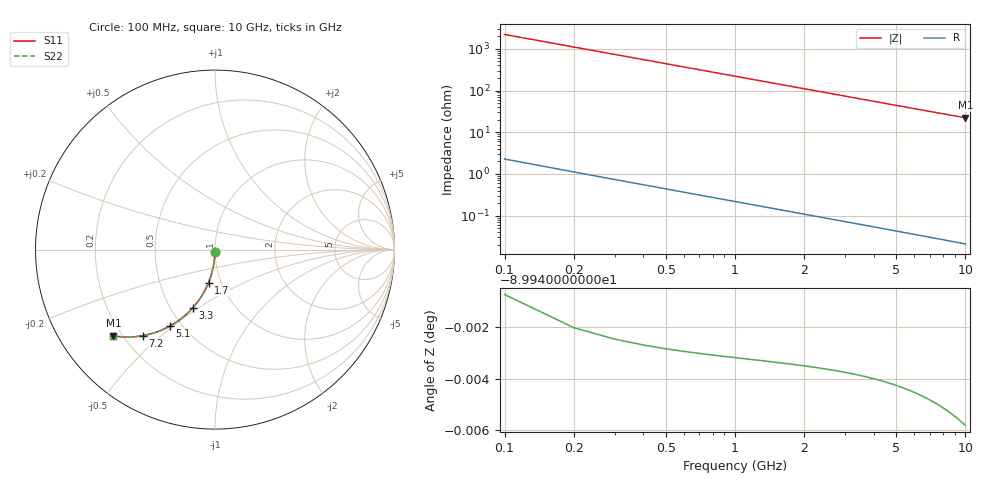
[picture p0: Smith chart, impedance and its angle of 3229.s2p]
# Hz S RI R 50.00
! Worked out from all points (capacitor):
!   100 points, 100 MHz to 10 GHz, reference 50 ohm
!   read as one part in shunt: C = 722 fF near 100 MHz
!   lowest |Z| = 22.2 ohm at 10 GHz (marker M1)
!   S11 on the Smith chart (normalised r, x): 100 MHz: 1.00, -0.02; 1.7 GHz: 0.87, -0.33; 3.3 GHz: 0.64, -0.47; 5.1 GHz: 0.43, -0.49; 7.2 GHz: 0.28, -0.44; 10 GHz: 0.17, -0.36
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1e8  -0.000101 -0.0112  0.9998 -0.0115  0.9998 -0.0115  -0.000101 -0.0112
2e8  -0.000498 -0.0224  0.9994 -0.023  0.9994 -0.023  -0.000498 -0.0224
3e8  -0.00115 -0.0336  0.9988 -0.0344  0.9988 -0.0344  -0.00115 -0.0336
4e8  -0.00206 -0.0447  0.9979 -0.0459  0.9979 -0.0459  -0.00206 -0.0447
5e8  -0.00322 -0.0558  0.9967 -0.0573  0.9967 -0.0573  -0.00322 -0.0558
6e8  -0.00464 -0.0669  0.9953 -0.0686  0.9953 -0.0686  -0.00464 -0.0669
8e8  -0.00822 -0.0889  0.9917 -0.0912  0.9917 -0.0912  -0.00822 -0.0889
9e8  -0.0104 -0.0998  0.9895 -0.1024  0.9895 -0.1024  -0.0104 -0.0998
1.1e9  -0.0154 -0.1214  0.9845 -0.1245  0.9845 -0.1245  -0.0154 -0.1214
1.4e9  -0.0247 -0.153  0.9752 -0.157  0.9752 -0.157  -0.0247 -0.153
1.7e9  -0.036 -0.1836  0.9639 -0.1884  0.9639 -0.1884  -0.036 -0.1836
1.8e9  -0.0402 -0.1935  0.9597 -0.1987  0.9597 -0.1987  -0.0402 -0.1935
2.1e9  -0.054 -0.2226  0.9459 -0.2285  0.9459 -0.2285  -0.054 -0.2226
2.5e9  -0.0748 -0.2591  0.9251 -0.2662  0.9251 -0.2662  -0.0748 -0.2591
3.3e9  -0.1235 -0.3239  0.8764 -0.3333  0.8764 -0.3333  -0.1235 -0.3239
3.4e9  -0.1301 -0.3311  0.8698 -0.3409  0.8698 -0.3409  -0.1301 -0.3311
4.2e9  -0.1859 -0.3826  0.8139 -0.3947  0.8139 -0.3947  -0.1859 -0.3826
5.1e9  -0.2521 -0.4264  0.7477 -0.4411  0.7477 -0.4411  -0.2521 -0.4264
6.7e9  -0.3683 -0.4722  0.6314 -0.4916  0.6314 -0.4916  -0.3683 -0.4722
7.2e9  -0.4026 -0.4795  0.5971 -0.5004  0.5971 -0.5004  -0.4026 -0.4795
8.4e9  -0.4789 -0.4868  0.5207 -0.5113  0.5207 -0.5113  -0.4789 -0.4868
1e10  -0.5664 -0.4803  0.4331 -0.5098  0.4331 -0.5098  -0.5664 -0.4803
